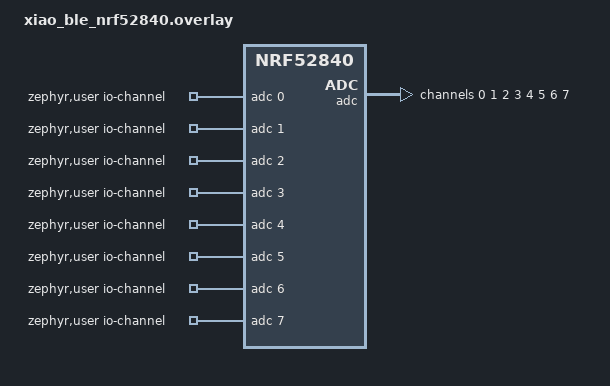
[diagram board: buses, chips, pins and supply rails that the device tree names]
/*
 * XIAO nRF52840 (NOT the Sense variant) — board overlay.
 *
 * The nRF54 boards' overlay does the same three jobs; the node labels are all that differ,
 * which is why this is a per-board file rather than #ifdefs in one shared app.overlay.
 * app.overlay was nRF54L15-only (spi00 / uart20 / i2c22) and was silently applied to every
 * board — an nRF52840 build failed on `undefined node label 'spi00'` before reaching a single
 * line of application code.
 */
#include <zephyr/dt-bindings/adc/adc.h>
#include <zephyr/dt-bindings/adc/nrf-saadc.h>

/ {
	/*
	 * NO zephyr,console override. The board's Kconfig.defconfig installs a USB CDC ACM console
	 * on &board_cdc_acm_uart and the .conf beside this file keeps it (there is no debug probe
	 * on this board, so RTT — which prj.conf selects for the nRF54 boards — goes nowhere).
	 * Naming a UART here would only add a third opinion.
	 */
	/*
	 * All 8 SAADC channels, so the battery driver can pick one at runtime by index from the
	 * configured battery_sense_pin. Same contract as the nRF54 boards.
	 */
	zephyr,user {
		io-channels = <&adc 0>, <&adc 1>, <&adc 2>, <&adc 3>,
			      <&adc 4>, <&adc 5>, <&adc 6>, <&adc 7>;
	};
};

/*
 * THE CHANNEL NODES HAVE TO BE DECLARED HERE, unlike on the nRF54 boards.
 *
 * xiao_nrf54l15_common.dtsi ships channel@0..7 in the board DTS, so the nRF54 overlay only has
 * to reference them. The upstream xiao_ble DTS does NOT: its &adc node is a bare
 * `status = "okay"` with no children. `io-channels = <&adc 0>` still compiles against it,
 * because ADC_DT_SPEC_GET_BY_IDX wraps the channel lookup in
 * IF_ENABLED(DT_NODE_EXISTS(...)) — a missing channel node is not an error, it silently
 * leaves adc_dt_spec::channel_cfg ZERO-FILLED.
 *
 * A zeroed channel_cfg means gain ADC_GAIN_1, reference ADC_REF_VDD_1 (both enum value 0) and
 * resolution 0. adc_nrfx_saadc's channel_setup rejects ADC_REF_VDD_1 — the nRF SAADC only does
 * ADC_REF_INTERNAL and ADC_REF_VDD_1_4 — so every battery read failed at the first call with
 *
 *     battery: adc_channel_setup failed (AIN0)
 *
 * every 40 s. The failure is in the devicetree, not in opendisplay_battery.c: battery_pin_to_ain()
 * had already correctly decoded P0.02 -> AIN0.
 *
 * GAIN 1/6 + INTERNAL REF, not the nRF54 boards' 1/4. That is 0.6 V * 6 = 3.6 V full scale,
 * which is exactly the Arduino AR_DEFAULT scale that battery_read_saadc_volts() converts back
 * into ("raw10 = pin_mv * 1024 / 3600") and that existing device configs calibrated
 * voltage_scaling_factor against. Copying 1/4 from the nRF54 overlay would clamp full scale to
 * 2.4 V and silently saturate a fresh Li-ion divider.
 */
&adc {
	#address-cells = <1>;
	#size-cells = <0>;

	channel@0 {
		reg = <0>;
		zephyr,gain = "ADC_GAIN_1_6";
		zephyr,reference = "ADC_REF_INTERNAL";
		zephyr,acquisition-time = <ADC_ACQ_TIME_DEFAULT>;
		zephyr,input-positive = <NRF_SAADC_AIN0>;
		zephyr,resolution = <12>;
		zephyr,oversampling = <8>;
	};

	channel@1 {
		reg = <1>;
		zephyr,gain = "ADC_GAIN_1_6";
		zephyr,reference = "ADC_REF_INTERNAL";
		zephyr,acquisition-time = <ADC_ACQ_TIME_DEFAULT>;
		zephyr,input-positive = <NRF_SAADC_AIN1>;
		zephyr,resolution = <12>;
		zephyr,oversampling = <8>;
	};

	channel@2 {
		reg = <2>;
		zephyr,gain = "ADC_GAIN_1_6";
		zephyr,reference = "ADC_REF_INTERNAL";
		zephyr,acquisition-time = <ADC_ACQ_TIME_DEFAULT>;
		zephyr,input-positive = <NRF_SAADC_AIN2>;
		zephyr,resolution = <12>;
		zephyr,oversampling = <8>;
	};

	channel@3 {
		reg = <3>;
		zephyr,gain = "ADC_GAIN_1_6";
		zephyr,reference = "ADC_REF_INTERNAL";
		zephyr,acquisition-time = <ADC_ACQ_TIME_DEFAULT>;
		zephyr,input-positive = <NRF_SAADC_AIN3>;
		zephyr,resolution = <12>;
		zephyr,oversampling = <8>;
	};

	channel@4 {
		reg = <4>;
		zephyr,gain = "ADC_GAIN_1_6";
		zephyr,reference = "ADC_REF_INTERNAL";
		zephyr,acquisition-time = <ADC_ACQ_TIME_DEFAULT>;
		zephyr,input-positive = <NRF_SAADC_AIN4>;
		zephyr,resolution = <12>;
		zephyr,oversampling = <8>;
	};

	channel@5 {
		reg = <5>;
		zephyr,gain = "ADC_GAIN_1_6";
		zephyr,reference = "ADC_REF_INTERNAL";
		zephyr,acquisition-time = <ADC_ACQ_TIME_DEFAULT>;
		zephyr,input-positive = <NRF_SAADC_AIN5>;
		zephyr,resolution = <12>;
		zephyr,oversampling = <8>;
	};

	channel@6 {
		reg = <6>;
		zephyr,gain = "ADC_GAIN_1_6";
		zephyr,reference = "ADC_REF_INTERNAL";
		zephyr,acquisition-time = <ADC_ACQ_TIME_DEFAULT>;
		zephyr,input-positive = <NRF_SAADC_AIN6>;
		zephyr,resolution = <12>;
		zephyr,oversampling = <8>;
	};

	channel@7 {
		reg = <7>;
		zephyr,gain = "ADC_GAIN_1_6";
		zephyr,reference = "ADC_REF_INTERNAL";
		zephyr,acquisition-time = <ADC_ACQ_TIME_DEFAULT>;
		zephyr,input-positive = <NRF_SAADC_AIN7>;
		zephyr,resolution = <12>;
		zephyr,oversampling = <8>;
	};
};

/*
 * The display is a GPIO bit-bang SPI on the OpenDisplay config pins. xiao_ble_common.dtsi
 * enables spi2 on the XIAO connector pads, and leaving a SPIM peripheral driving pads the
 * firmware also bit-bangs corrupts panel data — the same failure the nRF54 overlay disables
 * spi00 for. No firmware path uses the Zephyr SPI API.
 */
&spi2 {
	status = "disabled";
};

/*
 * Same reasoning for I2C: an enabled controller holds its pins at the idle level rather than
 * letting the panel drive them, and the display BUSY line shares a pad. On nRF54 that made
 * every bbepWaitBusy() time out. No firmware path uses the Zephyr I2C API.
 */
&i2c0 {
	status = "disabled";
};

/* No lsm6ds3tr_c node here: the IMU is on the SENSE variant only, so the nRF54 overlay's
 * disable of it would be a dangling reference on this board. */

/*
 * hw-flow-control ON THE CDC CONSOLE. This is not about RTS/CTS wires -- there are none on a
 * USB CDC link. It is the flag cdc_acm_poll_out() checks to decide what to do when its TX ring
 * is full:
 *
 *     if (k_is_in_isr() || !data->flow_ctrl) {
 *             LOG_WRN_ONCE("Ring buffer full, discard data");
 *             break;                       <-- THE CHARACTER IS THROWN AWAY
 *     }
 *     k_msleep(1);                         <-- with flow_ctrl: wait for room instead
 *
 * (zephyr/subsys/usb/device_next/class/usbd_cdc_acm.c, cdc_acm_poll_out)
 *
 * Without it the console drops INDIVIDUAL CHARACTERS whenever output outruns the host, which
 * is why log lines were arriving without their CR and/or LF: the terminators sit at the end of
 * each record, exactly where a burst is most likely to hit the ring limit. Nothing about the
 * record assembly was wrong -- od_log.c's CRLF append was verified on the host, truncation
 * path included.
 *
 * The cost is that a stalled host now delays the logging thread instead of silently corrupting
 * the log. For a bench debug console that is the right trade.
 */
&board_cdc_acm_uart {
	hw-flow-control;
};

/*
 * uart0 DISABLED -- IT OWNS THE PANEL'S CS PIN.
 *
 * xiao_ble_common.dtsi enables uart0 with status="okay" and pinctrl uart0_default, whose
 * psels are:
 *     UART_TX -> P1.11
 *     UART_RX -> P1.12   with bias-pull-up
 *
 * P1.12 is the panel CS line on this build (config byte 44 -> P1.12, confirmed in the boot
 * pin dump). So the UARTE peripheral was initialised at boot, its PSEL pointed at P1.12, and
 * pinctrl put a pull-up on it -- while the panel code separately tried to drive the same pin
 * as a GPIO output. Two owners, one pad.
 *
 * This fits every symptom exactly: CS is what frames EVERY command and every RAM byte, so if
 * it is not being driven cleanly the controller sees no valid transaction. That is why init
 * "succeeded", 48000 bytes streamed without error, and BUSY then never asserted for the
 * refresh -- nothing the panel could act on ever arrived.
 *
 * Nothing needs uart0 here: the console is USB CDC ACM (see the .conf), and this board has no
 * on-board debug UART. spi2 was already disabled for the same class of reason (its SPIM_SCK
 * psel is P1.13, the panel SCK); its pinctrl is inert because the node is disabled, and the
 * same is now true of uart0's.
 *
 * IF A UART CONSOLE IS EVER WANTED ON THIS BOARD, it cannot use the default pins -- they are
 * the panel bus. Remap uart0's pinctrl to free pads first.
 */
&uart0 {
	status = "disabled";
};
